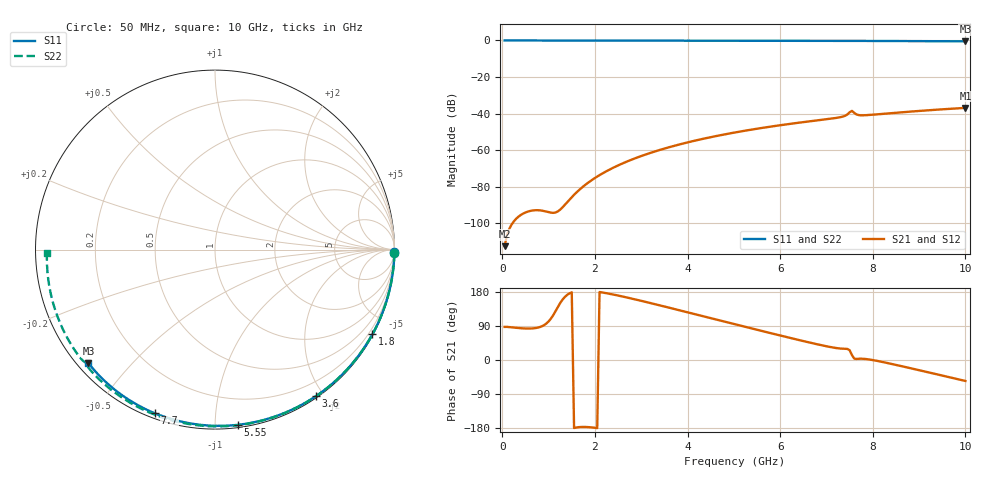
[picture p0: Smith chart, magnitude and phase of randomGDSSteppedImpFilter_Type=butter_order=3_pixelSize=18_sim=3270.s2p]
! freq	dB(S11)	phase(S11)	dB(S12)	phase(S12)
!  dB(S21)	phase(S21)	dB(S22)	phase(S22)
!S-par simulation data
#  GHz  S  DB  R 50
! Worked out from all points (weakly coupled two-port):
!   200 points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, 50 MHz to 10 GHz, reference 50 ohm
!   highest |S21| = -36.90 dB at 10 GHz (marker M1); lowest = -112.6 dB at 50 MHz (marker M2)
!   lowest |S11| = -0.5 dB at 10 GHz (marker M3), VSWR 37.09, Z = 1.55 - j19.1 ohm
!   |S11| at or under -10 dB: nowhere
!   |S22| runs from -0.6 to 0.0 dB; largest |S21 - S12| = 0
!   S11 on the Smith chart (normalised r, x): 50 MHz: open; 1.8 GHz: 0.03, -3.96; 3.6 GHz: 0.02, -1.91; 5.55 GHz: 0.02, -1.14; 7.7 GHz: 0.02, -0.70; 10 GHz: 0.03, -0.38
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0.05  -0.00 -0.8  -112.57 87.3  -112.57 87.3  -0.00 -1.1
0.85  -0.02 -13.5  -93.09 88.8  -93.09 88.8  -0.02 -17.8
1.75  -0.04 -27.5  -79.86 -176.6  -79.86 -176.6  -0.05 -36.2
1.8  -0.04 -28.3  -78.85 -176.7  -78.85 -176.7  -0.05 -37.2
2.1  -0.04 -32.9  -73.69 179.4  -73.69 179.4  -0.05 -43.2
2.5  -0.05 -39.0  -68.39 170.1  -68.39 170.1  -0.07 -51.0
2.9  -0.06 -45.0  -64.18 159.1  -64.18 159.1  -0.08 -58.8
3.4  -0.07 -52.4  -59.92 144.2  -59.92 144.2  -0.09 -68.2
3.6  -0.07 -55.3  -58.44 138.2  -58.44 138.2  -0.10 -71.9
4.3  -0.09 -65.3  -54.02 116.6  -54.02 116.6  -0.12 -84.6
5.05  -0.12 -75.8  -50.23 93.5  -50.23 93.5  -0.15 -97.8
5.55  -0.14 -82.5  -48.10 78.3  -48.10 78.3  -0.17 -106.3
6.7  -0.19 -97.6  -44.05 44.2  -44.05 44.2  -0.24 -125.2
7.35  -0.23 -105.8  -41.68 29.8  -41.68 29.8  -0.30 -135.8
7.45  -0.24 -107.0  -40.53 29.2  -40.53 29.2  -0.33 -137.5
7.55  -0.24 -108.2  -38.53 13.1  -38.53 13.1  -0.39 -138.8
7.65  -0.24 -109.5  -40.52 2.7  -40.52 2.7  -0.34 -140.2
7.7  -0.25 -110.2  -40.86 3.3  -40.86 3.3  -0.33 -141.1
7.85  -0.26 -112.0  -40.90 2.6  -40.90 2.6  -0.34 -143.6
8.35  -0.30 -118.2  -39.88 -8.9  -39.88 -8.9  -0.38 -151.6
9.2  -0.38 -128.5  -38.20 -32.5  -38.20 -32.5  -0.47 -165.5
10  -0.47 -138.1  -36.90 -55.3  -36.90 -55.3  -0.57 -178.8
